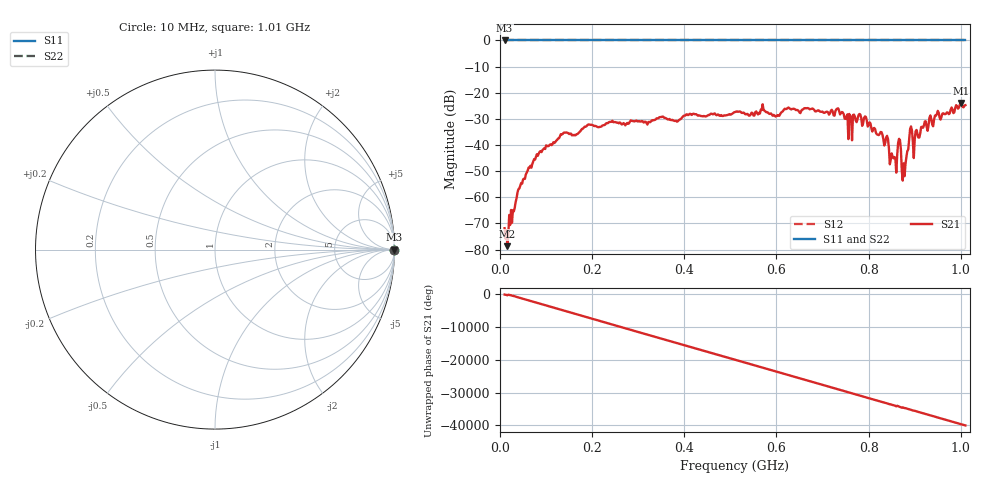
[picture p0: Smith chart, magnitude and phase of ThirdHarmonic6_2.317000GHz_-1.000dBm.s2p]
! 8/17/2025 3:15:41 AM
! C:\ANRITSUVNA\TEMP\TEMP.S2P
! CHANNEL.1
! TR.MEASUREMENT
! RAW.DATA
! RF.CORRECTION.OFF
! AVERAGING.OFF
! IF.BANDWIDTH: 5KHZ
! SWEEPTYPE:  FREQ.SWEEP(Linear)
! Reference Plane Port Info
! PORT:  PORT1  PORT2
! DISTANCE:  0  m  0  m
! TIME:  0  s  0  s
! PHASE.OFFSET:  0  deg.  0  deg.
! LOSS:  0  dB  0  dB
! REF.LOSS:  0  dB  0  dB
! REF.FREQ:  0  Hz  0  Hz
! Power Info
! POWER:  -20  dBm  -20  dBm
! EFF.POWER:  -20  dBm  -20  dBm
! SOURCE.ATTEN:  0  dB  0  dB
! TEST.ATTEN:  0  dB  0  dB
# GHZ S RI R 50.0
! FREQ.GHZ  S11RE  S11IM  S21RE  S21IM  S12RE  S12IM  S22RE  S22IM
!; PortSelection: Port_12
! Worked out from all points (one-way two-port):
!   501 points, 10 MHz to 1.01 GHz, reference 50 ohm
!   highest |S21| = -23.95 dB at 1 GHz (marker M1); lowest = -78.7 dB at 16 MHz (marker M2)
!   lowest |S11| = 0.0 dB at 10 MHz (marker M3)
!   |S11| at or under -10 dB: nowhere
!   |S22| runs from 0.0 to 0.0 dB; largest |S21 - S12| = 1.1
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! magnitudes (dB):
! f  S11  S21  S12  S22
! 10 MHz  0.0  -71.8  0.0  0.0
! 16 MHz  0.0  -78.7  0.0  0.0
! 42 MHz  0.0  -56.6  0.0  0.0
! 76 MHz  0.0  -45.6  0.0  0.0
! 136 MHz  0.0  -35.8  0.0  0.0
! 178 MHz  0.0  -33.8  0.0  0.0
! 344 MHz  0.0  -29.7  0.0  0.0
! 510 MHz  0.0  -27.4  0.0  0.0
! 678 MHz  0.0  -26.0  0.0  0.0
! 732 MHz  0.0  -26.1  0.0  0.0
! 760 MHz  0.0  -28.9  0.0  0.0
! 792 MHz  0.0  -29.1  0.0  0.0
! 840 MHz  0.0  -36.5  0.0  0.0
! 844 MHz  0.0  -41.2  0.0  0.0
! 858 MHz  0.0  -45.0  0.0  0.0
! 866 MHz  0.0  -37.6  0.0  0.0
! 876 MHz  0.0  -47.0  0.0  0.0
! 892 MHz  0.0  -32.9  0.0  0.0
! 900 MHz  0.0  -38.0  0.0  0.0
! 948 MHz  0.0  -28.3  0.0  0.0
! 1 GHz  0.0  -24.0  0.0  0.0
! 1.01 GHz  0.0  -24.8  0.0  0.0
